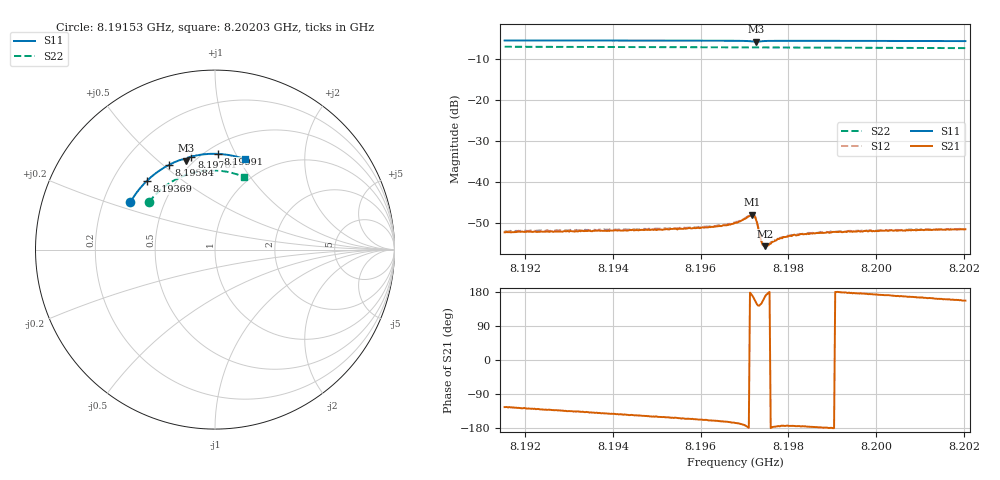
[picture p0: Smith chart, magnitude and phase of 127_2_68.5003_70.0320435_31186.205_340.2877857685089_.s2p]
#  HZ  S  RI  R  50.00
! Rohde & Schwarz Vector Network Analyzer
! Rohde-Schwarz,ZNB20-2Port,1311601062101988,3.16
! Created: UTC 3/20/2024, 4:54:13 PM
! freq[Hz]  re:S11  im:S11  re:S21  im:S21  re:S12  im:S12  re:S22  im:S22
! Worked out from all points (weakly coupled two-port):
!   401 points, 8.19153 GHz to 8.20203 GHz, reference 50 ohm
!   highest |S21| = -47.94 dB at 8.19718 GHz (marker M1); lowest = -55.6 dB at 8.19747 GHz (marker M2)
!   lowest |S11| = -5.7 dB at 8.19726 GHz (marker M3), VSWR 3.18, Z = 22.8 + j31.1 ohm
!   |S11| at or under -10 dB: nowhere
!   |S22| runs from -7.2 to -6.9 dB; largest |S21 - S12| = 0.00023
!   S11 on the Smith chart (normalised r, x): 8.19153 GHz: 0.32, +0.24; 8.19369 GHz: 0.35, +0.37; 8.19584 GHz: 0.39, +0.52; 8.19781 GHz: 0.46, +0.67; 8.19991 GHz: 0.57, +0.85; 8.20203 GHz: 0.75, +1.06
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8.191535e9  -0.4718 0.2632  -0.00137 -0.00202  -0.00146 -0.00205  -0.3676 0.2642
8.193294e9  -0.3989 0.3627  -0.00187 -0.00176  -0.00192 -0.00168  -0.3009 0.335
8.193687e9  -0.3795 0.3827  -0.00195 -0.00166  -0.00205 -0.00166  -0.2838 0.3489
8.195052e9  -0.3048 0.4433  -0.00229 -0.00131  -0.00239 -0.00126  -0.2198 0.39
8.19584e9  -0.2569 0.4719  -0.00251 -0.00111  -0.00259 -0.00101  -0.18 0.4087
8.196338e9  -0.2246 0.4874  -0.00271 -0.000966  -0.00278 -0.000871  -0.1538 0.4184
8.196784e9  -0.1937 0.4992  -0.00308 -0.000767  -0.00317 -0.000633  -0.1297 0.4258
8.197126e9  -0.166 0.5025  -0.00387 0.000154  -0.00396 0.000302  -0.1111 0.4303
8.197178e9  -0.1622 0.5004  -0.00395 0.000695  -0.00402 0.000892  -0.1082 0.4307
8.197231e9  -0.1606 0.4971  -0.00357 0.00138  -0.00361 0.0016  -0.1053 0.4313
8.197257e9  -0.1613 0.4961  -0.00318 0.00163  -0.00319 0.00183  -0.1041 0.4316
8.197388e9  -0.1623 0.5032  -0.0016 0.000954  -0.00163 0.000994  -0.0969 0.433
8.197414e9  -0.1609 0.5051  -0.00156 0.000707  -0.00161 0.000768  -0.0956 0.4335
8.197467e9  -0.1574 0.5082  -0.00161 0.00037  -0.00162 0.000467  -0.0926 0.434
8.197546e9  -0.1513 0.5116  -0.00169 7.7e-05  -0.00177 0.000154  -0.0883 0.4348
8.197677e9  -0.1415 0.5157  -0.0019 -0.000132  -0.00196 -4.65e-05  -0.0809 0.4361
8.197808e9  -0.1317 0.5185  -0.00204 -0.00018  -0.00209 -0.000137  -0.0735 0.4372
8.198097e9  -0.111 0.5234  -0.00223 -0.000244  -0.00223 -0.000137  -0.0574 0.4392
8.198543e9  -0.0792 0.5289  -0.00234 -0.000139  -0.00238 -4.48e-05  -0.0322 0.4409
8.199908e9  0.0177 0.5332  -0.00249 0.000275  -0.00249 0.000439  0.0448 0.4372
8.200302e9  0.0455 0.531  -0.00253 0.000415  -0.00255 0.000543  0.067 0.4337
8.202034e9  0.1647 0.5045  -0.00244 0.00105  -0.00245 0.00113  0.1612 0.4045
